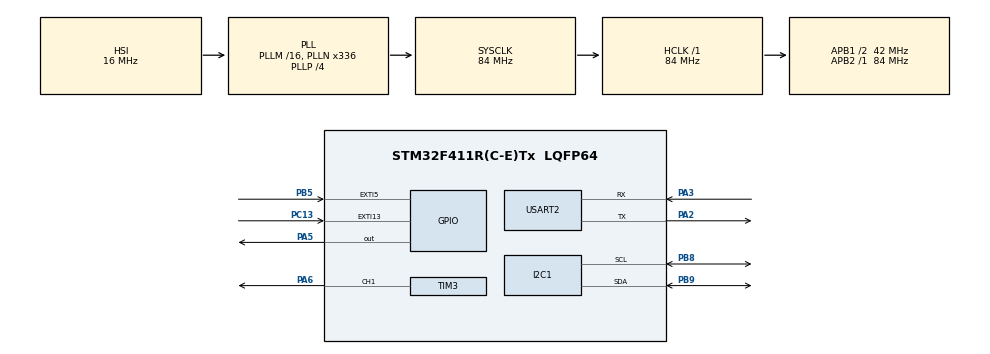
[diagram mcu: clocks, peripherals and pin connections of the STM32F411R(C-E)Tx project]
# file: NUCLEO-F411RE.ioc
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Dma.Request0=USART2_RX
Dma.Request1=USART2_TX
Dma.USART2_RX.0.Direction=DMA_PERIPH_TO_MEMORY
Dma.USART2_RX.0.FIFOMode=DMA_FIFOMODE_DISABLE
Dma.USART2_RX.0.Instance=DMA1_Stream5
Dma.USART2_RX.0.MemDataAlignment=DMA_MDATAALIGN_BYTE
Dma.USART2_RX.0.MemInc=DMA_MINC_ENABLE
Dma.USART2_RX.0.Mode=DMA_NORMAL
Dma.USART2_RX.0.PeriphDataAlignment=DMA_PDATAALIGN_BYTE
Dma.USART2_RX.0.PeriphInc=DMA_PINC_DISABLE
Dma.USART2_RX.0.Priority=DMA_PRIORITY_LOW
Dma.USART2_TX.1.Direction=DMA_MEMORY_TO_PERIPH
Dma.USART2_TX.1.FIFOMode=DMA_FIFOMODE_DISABLE
Dma.USART2_TX.1.Instance=DMA1_Stream6
Dma.USART2_TX.1.MemDataAlignment=DMA_MDATAALIGN_BYTE
Dma.USART2_TX.1.MemInc=DMA_MINC_ENABLE
Dma.USART2_TX.1.Mode=DMA_NORMAL
Dma.USART2_TX.1.PeriphDataAlignment=DMA_PDATAALIGN_BYTE
Dma.USART2_TX.1.PeriphInc=DMA_PINC_DISABLE
Dma.USART2_TX.1.Priority=DMA_PRIORITY_LOW
FREERTOS.Tasks01=defaultTask,3,256,StartDefaultTask,Default,NULL,Dynamic,NULL,NULL
FREERTOS.configUSE_IDLE_HOOK=1
FREERTOS.configUSE_NEWLIB_REENTRANT=1
FREERTOS.configUSE_TICKLESS_IDLE=1
FREERTOS.configUSE_TIMERS=1
FREERTOS.copyHeapFile=0
IWDG.Prescaler=IWDG_PRESCALER_256
IWDG.Reload=625
Mcu.Family=STM32F4
Mcu.Name=STM32F411R(C-E)Tx
Mcu.Package=LQFP64
NVIC.DMA1_Stream5_IRQn=true\:5\:0\:false\:false\:true\:true\:false\:true
NVIC.DMA1_Stream6_IRQn=true\:5\:0\:false\:false\:true\:true\:false\:true
NVIC.EXTI15_10_IRQn=true\:5\:0\:false\:false\:true\:true\:true\:true
NVIC.EXTI9_5_IRQn=true\:5\:0\:false\:false\:true\:true\:true\:true
NVIC.PriorityGroup=NVIC_PRIORITYGROUP_4
NVIC.RTC_Alarm_IRQn=true\:5\:0\:false\:false\:true\:true\:true\:true
NVIC.RTC_WKUP_IRQn=true\:5\:0\:false\:false\:true\:true\:true\:true
NVIC.TIM5_IRQn=true\:0\:0\:false\:false\:true\:false\:false\:true
NVIC.TimeBase=TIM5_IRQn
NVIC.TimeBaseIP=TIM5
NVIC.USART2_IRQn=true\:5\:0\:false\:false\:true\:true\:true\:true
PA0-WKUP.Mode=SYS_WakeUp0
PA0-WKUP.Signal=SYS_WKUP
PA2.Mode=Asynchronous
PA2.Signal=USART2_TX
PA3.Mode=Asynchronous
PA3.Signal=USART2_RX
PA5.Signal=GPIO_Output
PA6.Signal=S_TIM3_CH1
PB5.GPIO_ModeDefaultEXTI=GPIO_MODE_IT_FALLING
PB5.Signal=GPXTI5
PB8.Mode=I2C
PB8.Signal=I2C1_SCL
PB9.Mode=I2C
PB9.Signal=I2C1_SDA
PC13-ANTI_TAMP.Signal=GPXTI13
PC14-OSC32_IN.Mode=LSE-External-Oscillator
PC14-OSC32_IN.Signal=RCC_OSC32_IN
PC15-OSC32_OUT.Mode=LSE-External-Oscillator
PC15-OSC32_OUT.Signal=RCC_OSC32_OUT
ProjectManager.HeapSize=0x200
ProjectManager.StackSize=0x400
ProjectManager.TargetToolchain=STM32CubeIDE
RCC.48MHZClocksFreq_Value=84000000
RCC.AHBFreq_Value=84000000
RCC.APB1CLKDivider=RCC_HCLK_DIV2
RCC.APB1Freq_Value=42000000
RCC.APB1TimFreq_Value=84000000
RCC.APB2Freq_Value=84000000
RCC.APB2TimFreq_Value=84000000
RCC.CortexFreq_Value=84000000
RCC.FLatency-AdvancedSettings=FLASH_LATENCY_2
RCC.HCLKFreq_Value=84000000
RCC.HSE_VALUE=8000000
RCC.HSI_VALUE=16000000
RCC.PLLN=336
RCC.PLLP=RCC_PLLP_DIV4
RCC.RCC_RTC_Clock_Source=RCC_RTCCLKSOURCE_LSE
RCC.RCC_RTC_Clock_SourceVirtual=RCC_RTCCLKSOURCE_LSE
RCC.SYSCLKFreq_VALUE=84000000
RCC.SYSCLKSource=RCC_SYSCLKSOURCE_PLLCLK
RCC.VCOOutputFreq_Value=336000000
RTC.Alarm=RTC_ALARM_A
RTC.AlarmMaskDateWeekDay=RTC_ALARMMASK_DATEWEEKDAY
RTC.AlarmMaskHours=RTC_ALARMMASK_HOURS
RTC.AlarmMaskMinutes=RTC_ALARMMASK_MINUTES
RTC.AlarmMaskSeconds=RTC_ALARMMASK_SECONDS
RTC.Format=RTC_FORMAT_BIN
RTC.Seconds_A=1
SH.S_TIM3_CH1.0=TIM3_CH1,PWM Generation1 CH1
TIM3.Channel-PWM\ Generation1\ CH1=TIM_CHANNEL_1
TIM3.Period=100-1
TIM3.Prescaler=84-1
USART2.VirtualMode=VM_ASYNC
VP_CRC_VS_CRC.Mode=CRC_Activate
VP_FREERTOS_VS_CMSIS_V1.Mode=CMSIS_V1
VP_IWDG_VS_IWDG.Mode=IWDG_Activate
VP_RTC_VS_RTC_Activate.Mode=RTC_Enabled
VP_RTC_VS_RTC_Alarm_A_Intern.Mode=Alarm A
VP_RTC_VS_RTC_Calendar.Mode=RTC_Calendar
VP_RTC_VS_RTC_WakeUp_intern.Mode=WakeUp
VP_SYS_VS_tim5.Mode=TIM5
VP_TIM3_VS_ClockSourceINT.Mode=Internal
board=NUCLEO-F411RE

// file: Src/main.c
/* USER CODE BEGIN Header */
/**
  ******************************************************************************
  * @file           : main.c
  * @brief          : Main program body
  ******************************************************************************
  * @attention
  *
  * <h2><center>&copy; Copyright (c) 2020 STMicroelectronics.
  * All rights reserved.</center></h2>
  *
  * This software component is licensed by ST under BSD 3-Clause license,
  * the "License"; You may not use this file except in compliance with the
  * License. You may obtain a copy of the License at:
  *                        opensource.org/licenses/BSD-3-Clause
  *
  ******************************************************************************
  */
/* USER CODE END Header */

#include "main.h"
#include "cmsis_os.h"
#include "crc.h"
#include "dma.h"
#include "i2c.h"
#include "iwdg.h"
#include "rtc.h"
#include "tim.h"
#include "usart.h"
#include "gpio.h"

/* USER CODE BEGIN Includes */
#include "com.h"
#include "system_debug.h"

/* USER CODE END Includes */

void SystemClock_Config(void);
void MX_FREERTOS_Init(void);

int main(void)
{
  /* USER CODE BEGIN 1 */
  uwTickPrio = TICK_INT_PRIORITY;
  /* USER CODE END 1 */

  /* MCU Configuration--------------------------------------------------------*/

  /* Reset of all peripherals, Initializes the Flash interface and the Systick. */
  HAL_Init();

  /* Configure the system clock */
  SystemClock_Config();

  /* Initialize all configured peripherals */
  MX_GPIO_Init();
  MX_DMA_Init();
  MX_CRC_Init();
  MX_I2C1_Init();
  MX_RTC_Init();
  MX_TIM3_Init();
  MX_USART2_UART_Init();
  /* USER CODE BEGIN 2 */
  HAL_RTC_DeactivateAlarm(&hrtc, RTC_ALARM_A);
  HAL_RTCEx_DeactivateWakeUpTimer(&hrtc);
  /* USER CODE END 2 */

  /* Call init function for freertos objects (in freertos.c) */
  MX_FREERTOS_Init();
  /* Start scheduler */
  osKernelStart();

  /* We should never get here as control is now taken by the scheduler */
  /* Infinite loop */
  while (1)
  {

  }
}

void SystemClock_Config(void)
{
  RCC_OscInitTypeDef RCC_OscInitStruct = {0};
  RCC_ClkInitTypeDef RCC_ClkInitStruct = {0};
  RCC_PeriphCLKInitTypeDef PeriphClkInitStruct = {0};

  /** Configure the main internal regulator output voltage
  */
  __HAL_RCC_PWR_CLK_ENABLE();
  __HAL_PWR_VOLTAGESCALING_CONFIG(PWR_REGULATOR_VOLTAGE_SCALE1);
  /** Initializes the CPU, AHB and APB busses clocks
  */
  RCC_OscInitStruct.OscillatorType = RCC_OSCILLATORTYPE_HSI|RCC_OSCILLATORTYPE_LSI
                              |RCC_OSCILLATORTYPE_LSE;
  RCC_OscInitStruct.LSEState = RCC_LSE_ON;
  RCC_OscInitStruct.HSIState = RCC_HSI_ON;
  RCC_OscInitStruct.HSICalibrationValue = RCC_HSICALIBRATION_DEFAULT;
  RCC_OscInitStruct.LSIState = RCC_LSI_ON;
  RCC_OscInitStruct.PLL.PLLState = RCC_PLL_ON;
  RCC_OscInitStruct.PLL.PLLSource = RCC_PLLSOURCE_HSI;
  RCC_OscInitStruct.PLL.PLLM = 16;
  RCC_OscInitStruct.PLL.PLLN = 336;
  RCC_OscInitStruct.PLL.PLLP = RCC_PLLP_DIV4;
  RCC_OscInitStruct.PLL.PLLQ = 4;
  if (HAL_RCC_OscConfig(&RCC_OscInitStruct) != HAL_OK)
  {
    Error_Handler();
  }
  /** Initializes the CPU, AHB and APB busses clocks
  */
  RCC_ClkInitStruct.ClockType = RCC_CLOCKTYPE_HCLK|RCC_CLOCKTYPE_SYSCLK
                              |RCC_CLOCKTYPE_PCLK1|RCC_CLOCKTYPE_PCLK2;
  RCC_ClkInitStruct.SYSCLKSource = RCC_SYSCLKSOURCE_PLLCLK;
  RCC_ClkInitStruct.AHBCLKDivider = RCC_SYSCLK_DIV1;
  RCC_ClkInitStruct.APB1CLKDivider = RCC_HCLK_DIV2;
  RCC_ClkInitStruct.APB2CLKDivider = RCC_HCLK_DIV1;

  if (HAL_RCC_ClockConfig(&RCC_ClkInitStruct, FLASH_LATENCY_2) != HAL_OK)
  {
    Error_Handler();
  }
  PeriphClkInitStruct.PeriphClockSelection = RCC_PERIPHCLK_RTC;
  PeriphClkInitStruct.RTCClockSelection = RCC_RTCCLKSOURCE_LSE;
  if (HAL_RCCEx_PeriphCLKConfig(&PeriphClkInitStruct) != HAL_OK)
  {
    Error_Handler();
  }
}

 /**
  * @brief  Period elapsed callback in non blocking mode
  * @note   This function is called  when TIM5 interrupt took place, inside
  * HAL_TIM_IRQHandler(). It makes a direct call to HAL_IncTick() to increment
  * a global variable "uwTick" used as application time base.
  * @param  htim : TIM handle
  * @retval None
  */
void HAL_TIM_PeriodElapsedCallback(TIM_HandleTypeDef *htim)
{
  if (htim->Instance == TIM5) {
    HAL_IncTick();
  }
}

void Error_Handler(void)
{
  /* USER CODE BEGIN Error_Handler_Debug */
  /* User can add his own implementation to report the HAL error return state */
	COM_uartPrint("Error");
	while(1);
  /* USER CODE END Error_Handler_Debug */
}

#ifdef  USE_FULL_ASSERT
/**
  * @brief  Reports the name of the source file and the source line number
  *         where the assert_param error has occurred.
  * @param  file: pointer to the source file name
  * @param  line: assert_param error line source number
  * @retval None
  */
void assert_failed(uint8_t *file, uint32_t line)
{
  /* USER CODE BEGIN 6 */

	SYSTEM_DEBUG_assertRecord(file, line);

  /* USER CODE END 6 */
}
#endif /* USE_FULL_ASSERT */

/************************ (C) COPYRIGHT STMicroelectronics *****END OF FILE****/

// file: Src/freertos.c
/* USER CODE BEGIN Header */
/**
  ******************************************************************************
  * File Name          : freertos.c
  * Description        : Code for freertos applications
  ******************************************************************************
  * @attention
  *
  * <h2><center>&copy; Copyright (c) 2020 STMicroelectronics.
  * All rights reserved.</center></h2>
  *
  * This software component is licensed by ST under Ultimate Liberty license
  * SLA0044, the "License"; You may not use this file except in compliance with
  * the License. You may obtain a copy of the License at:
  *                             www.st.com/SLA0044
  *
  ******************************************************************************
  */
/* USER CODE END Header */

#include "FreeRTOS.h"
#include "task.h"
#include "main.h"
#include "cmsis_os.h"

/* USER CODE BEGIN Includes */
#include "com.h"
#include "lsm6dsl.h"
#include "types.h"
#include "system_debug.h"
#include "system_isr.h"
#include "iwdg.h"

/* USER CODE END Includes */

osThreadId defaultTaskHandle;

void StartDefaultTask(void const * argument);

void MX_FREERTOS_Init(void); /* (MISRA C 2004 rule 8.1) */

/* Pre/Post sleep processing prototypes */
void PreSleepProcessing(uint32_t *ulExpectedIdleTime);
void PostSleepProcessing(uint32_t *ulExpectedIdleTime);

/* GetIdleTaskMemory prototype (linked to static allocation support) */
void vApplicationGetIdleTaskMemory( StaticTask_t **ppxIdleTaskTCBBuffer, StackType_t **ppxIdleTaskStackBuffer, uint32_t *pulIdleTaskStackSize );

/* GetTimerTaskMemory prototype (linked to static allocation support) */
void vApplicationGetTimerTaskMemory( StaticTask_t **ppxTimerTaskTCBBuffer, StackType_t **ppxTimerTaskStackBuffer, uint32_t *pulTimerTaskStackSize );

/* Hook prototypes */
void vApplicationIdleHook(void);

/* USER CODE BEGIN 2 */
__weak void vApplicationIdleHook( void )
{
   /* vApplicationIdleHook() will only be called if configUSE_IDLE_HOOK is set
   to 1 in FreeRTOSConfig.h. It will be called on each iteration of the idle
   task. It is essential that code added to this hook function never attempts
   to block in any way (for example, call xQueueReceive() with a block time
   specified, or call vTaskDelay()). If the application makes use of the
   vTaskDelete() API function (as this demo application does) then it is also
   important that vApplicationIdleHook() is permitted to return to its calling
   function, because it is the responsibility of the idle task to clean up
   memory allocated by the kernel to any task that has since been deleted. */
#ifdef IWDG_ENABLE
	kickDog();
#endif
}
/* USER CODE END 2 */

/* USER CODE BEGIN PREPOSTSLEEP */
__weak void PreSleepProcessing(uint32_t *ulExpectedIdleTime)
{
/* place for user code */
	HAL_GPIO_WritePin(GPIOA, GPIO_PIN_5, GPIO_PIN_SET);
}

__weak void PostSleepProcessing(uint32_t *ulExpectedIdleTime)
{
/* place for user code */
	HAL_GPIO_WritePin(GPIOA, GPIO_PIN_5, GPIO_PIN_RESET);
}
/* USER CODE END PREPOSTSLEEP */

/* USER CODE BEGIN GET_IDLE_TASK_MEMORY */
static StaticTask_t xIdleTaskTCBBuffer;
static StackType_t xIdleStack[configMINIMAL_STACK_SIZE];

void vApplicationGetIdleTaskMemory( StaticTask_t **ppxIdleTaskTCBBuffer, StackType_t **ppxIdleTaskStackBuffer, uint32_t *pulIdleTaskStackSize )
{
  *ppxIdleTaskTCBBuffer = &xIdleTaskTCBBuffer;
  *ppxIdleTaskStackBuffer = &xIdleStack[0];
  *pulIdleTaskStackSize = configMINIMAL_STACK_SIZE;
  /* place for user code */
}
/* USER CODE END GET_IDLE_TASK_MEMORY */

/* USER CODE BEGIN GET_TIMER_TASK_MEMORY */
static StaticTask_t xTimerTaskTCBBuffer;
static StackType_t xTimerStack[configTIMER_TASK_STACK_DEPTH];

void vApplicationGetTimerTaskMemory( StaticTask_t **ppxTimerTaskTCBBuffer, StackType_t **ppxTimerTaskStackBuffer, uint32_t *pulTimerTaskStackSize )
{
  *ppxTimerTaskTCBBuffer = &xTimerTaskTCBBuffer;
  *ppxTimerTaskStackBuffer = &xTimerStack[0];
  *pulTimerTaskStackSize = configTIMER_TASK_STACK_DEPTH;
  /* place for user code */
}
/* USER CODE END GET_TIMER_TASK_MEMORY */

void MX_FREERTOS_Init(void) {

  /* Create the thread(s) */
  /* definition and creation of defaultTask */
  osThreadDef(defaultTask, StartDefaultTask, osPriorityRealtime, 0, 256);
  defaultTaskHandle = osThreadCreate(osThread(defaultTask), NULL);

}

void StartDefaultTask(void const * argument)
{
  /* USER CODE BEGIN StartDefaultTask */

	COM_init();

	SYSTEM_ISR_init();

	LSM6DSL_init();

	SYSTEM_DEBUG_wakeupStandbyMode();

	COM_uartPrint(HELLO_WORLD);

	SYSTEM_DEBUG_assertMsgPrint();

	SYSTEM_DEBUG_printResetCause();

#ifdef IWDG_ENABLE
	MX_IWDG_Init();
#endif

	osStatus status;

	status = osThreadTerminate(defaultTaskHandle);

	if (status == osOK)
	{
	    // Task was terminated successfully
	}
	else
	{
		COM_uartPrint("Failed to terminate a task\n");
	}

  /* Infinite loop */

	for(;;)
	{

	}
  /* USER CODE END StartDefaultTask */
}

/************************ (C) COPYRIGHT STMicroelectronics *****END OF FILE****/
